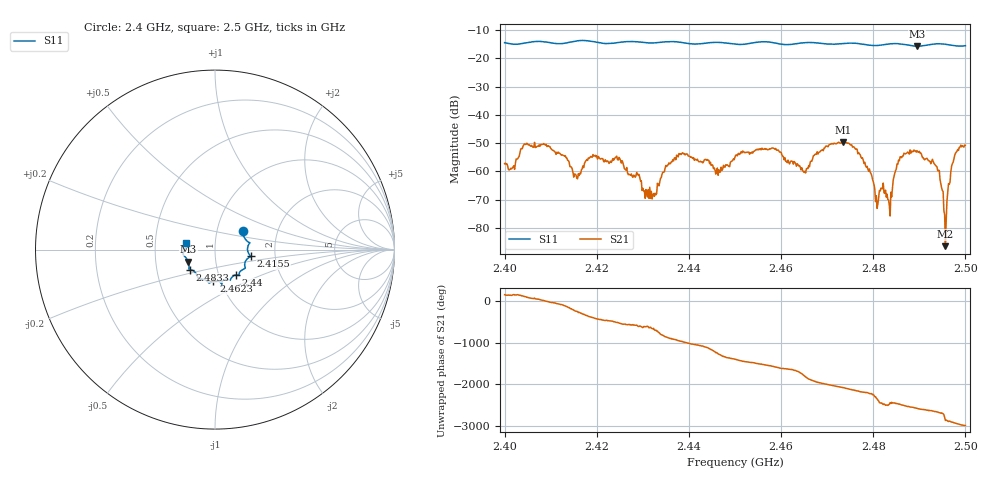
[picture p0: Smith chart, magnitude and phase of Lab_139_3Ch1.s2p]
# Hz S RI R 50
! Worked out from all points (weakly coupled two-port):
!   601 points, 2.4 GHz to 2.5 GHz, reference 50 ohm
!   highest |S21| = -49.64 dB at 2.4735 GHz (marker M1); lowest = -86.4 dB at 2.4957 GHz (marker M2)
!   lowest |S11| = -15.7 dB at 2.4895 GHz (marker M3), VSWR 1.39, Z = 36.8 - j5.13 ohm
!   |S11| at or under -10 dB: start of sweep to end of sweep
!   S12 and S22 are empty: the file has one direction only
!   S11 on the Smith chart (normalised r, x): 2.4 GHz: 1.33, +0.29; 2.4155 GHz: 1.49, -0.11; 2.44 GHz: 1.21, -0.35; 2.4623 GHz: 0.92, -0.34; 2.4833 GHz: 0.74, -0.17; 2.5 GHz: 0.72, +0.05
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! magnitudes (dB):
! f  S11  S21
! 2.4 GHz  -14.5  -57.3
! 2.4085 GHz  -14.1  -50.1
! 2.4155 GHz  -13.9  -61.3
! 2.4167 GHz  -13.7  -59.4
! 2.4245 GHz  -14.5  -55.8
! 2.4308 GHz  -14.5  -67.3
! 2.4333 GHz  -14.4  -64.7
! 2.44 GHz  -14.8  -54.6
! 2.4463 GHz  -14.4  -61.3
! 2.45 GHz  -15.0  -54.9
! 2.4623 GHz  -15.1  -56.4
! 2.4667 GHz  -14.4  -56.4
! 2.4735 GHz  -14.8  -49.6
! 2.4773 GHz  -14.9  -55.0
! 2.4807 GHz  -15.5  -68.6
! 2.4833 GHz  -15.0  -70.1
! 2.4857 GHz  -14.9  -56.2
! 2.4895 GHz  -15.7  -52.6
! 2.4938 GHz  -14.9  -58.4
! 2.4957 GHz  -15.1  -86.4
! 2.4975 GHz  -15.5  -55.7
! 2.5 GHz  -15.6  -50.7
